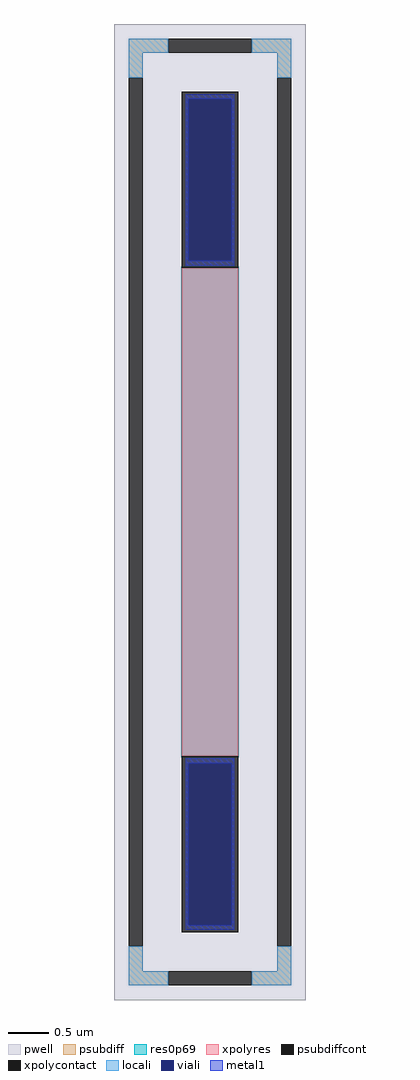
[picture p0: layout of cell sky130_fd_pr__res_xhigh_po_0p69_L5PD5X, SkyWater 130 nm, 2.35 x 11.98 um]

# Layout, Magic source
magic
tech sky130A
magscale 1 2
<< pwell >>
rect -235 -1198 235 1198
<< psubdiff >>
rect -199 1128 -103 1162
rect 103 1128 199 1162
rect -199 1066 -165 1128
rect 165 1066 199 1128
rect -199 -1128 -165 -1066
rect 165 -1128 199 -1066
rect -199 -1162 -103 -1128
rect 103 -1162 199 -1128
<< psubdiffcont >>
rect -103 1128 103 1162
rect -199 -1066 -165 1066
rect 165 -1066 199 1066
rect -103 -1162 103 -1128
<< xpolycontact >>
rect -69 600 69 1032
rect -69 -1032 69 -600
<< xpolyres >>
rect -69 -600 69 600
<< locali >>
rect -199 1128 -103 1162
rect 103 1128 199 1162
rect -199 1066 -165 1128
rect 165 1066 199 1128
rect -199 -1128 -165 -1066
rect 165 -1128 199 -1066
rect -199 -1162 -103 -1128
rect 103 -1162 199 -1128
<< viali >>
rect -53 617 53 1014
rect -53 -1014 53 -617
<< metal1 >>
rect -59 1014 59 1026
rect -59 617 -53 1014
rect 53 617 59 1014
rect -59 605 59 617
rect -59 -617 59 -605
rect -59 -1014 -53 -617
rect 53 -1014 59 -617
rect -59 -1026 59 -1014
<< res0p69 >>
rect -71 -602 71 602
<< properties >>
string FIXED_BBOX -182 -1145 182 1145
string gencell sky130_fd_pr__res_xhigh_po_0p69
string library sky130
string parameters w 0.690 l 6.0 m 1 nx 1 wmin 0.690 lmin 0.50 rho 2000 val 17.936k dummy 0 dw 0.0 term 188.2 sterm 0.0 caplen 0 wmax 0.690 guard 1 glc 1 grc 1 gtc 1 gbc 1 compatible {sky130_fd_pr__res_xhigh_po_0p35  sky130_fd_pr__res_xhigh_po_0p69 sky130_fd_pr__res_xhigh_po_1p41  sky130_fd_pr__res_xhigh_po_2p85 sky130_fd_pr__res_xhigh_po_5p73} snake 0 full_metal 1 n_guard 0 hv_guard 0 vias 1 viagb 0 viagt 0 viagl 0 viagr 0
<< end >>
